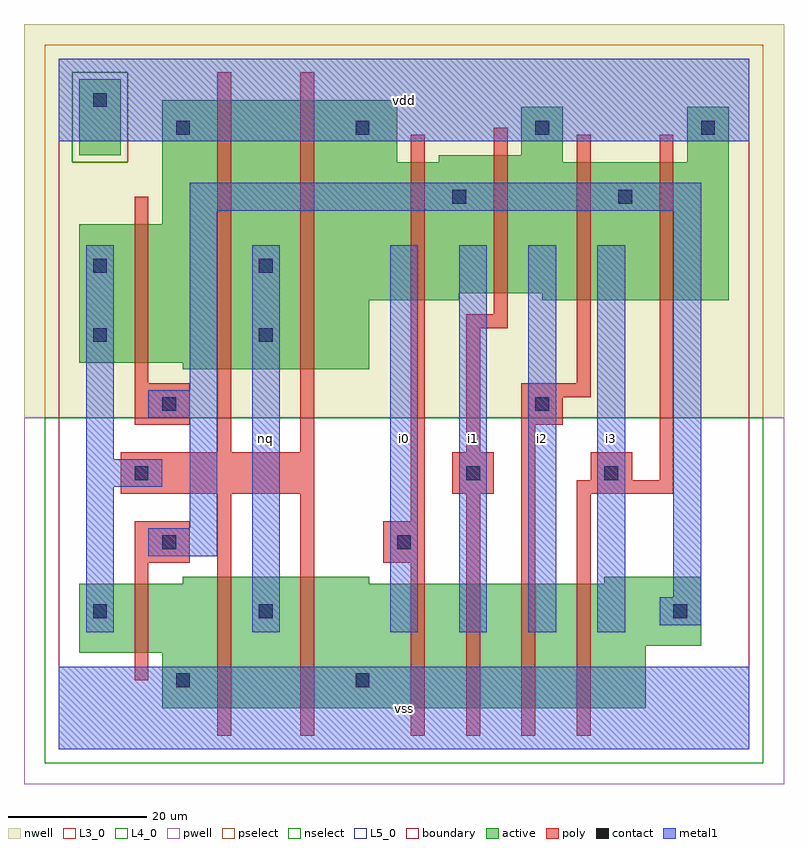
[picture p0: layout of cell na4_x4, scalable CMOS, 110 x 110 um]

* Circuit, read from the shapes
.subckt na4_x4 i0 i1 i2 i3 nq vdd vss
M1 vss n1 n2 VSUBS nfet w=10u l=2u
M2 nq n2 vss VSUBS nfet w=19u l=2u m=2
M3 n3 i0 vss VSUBS nfet w=18u l=2u
M4 n4 i1 n3 VSUBS nfet w=18u l=2u
M5 n5 i2 n4 VSUBS nfet w=18u l=2u
M6 n1 i3 n5 VSUBS nfet w=18u l=2u
M7 vdd n1 n2 vdd pfet w=20u l=2u
M8 nq n2 vdd vdd pfet w=39u l=2u m=2
M9 n1 i0 vdd vdd pfet w=20u l=2u
M10 vdd i1 n1 vdd pfet w=20u l=2u
M11 n1 i2 vdd vdd pfet w=20u l=2u
M12 vdd i3 n1 vdd pfet w=20u l=2u
.ends

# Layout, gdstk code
import gdstk
lib = gdstk.Library(unit=1e-6, precision=1e-09)
def R(c, l, rs):  # rectangles x0, y0, x1, y1
    for r in rs: c.add(gdstk.rectangle(r[:2], r[2:], *l))
def A(c, l, x, y, w, h, nx, ny, dx, dy):  # array of equal rectangles
    R(c, l, [(x+i*dx, y+j*dy, x+i*dx+w, y+j*dy+h) for i in range(nx) for j in range(ny)])
L3_0 = (3, 0)
L4_0 = (4, 0)
L5_0 = (5, 0)
contact = (25, 0)
pwell = (41, 0)
nwell = (42, 0)
active = (43, 0)
pselect = (44, 0)
nselect = (45, 0)
poly = (46, 0)
metal1 = (49, 0)
boundary = (63, 0)

na4_x4 = lib.new_cell('na4_x4')
R(na4_x4, L3_0, [(15,6,85,14), (3,14,85,15), (3,15,93,24), (18,24,45,25), (79,24,93,25)])
R(na4_x4, L4_0, [(18,55,45,56), (3,56,45,65), (3,65,58,66), (70,65,97,66), (3,66,97,76), (15,76,97,85), (15,85,49,94), (55,85,73,86), (91,85,97,93), (67,86,73,93)])
R(na4_x4, L5_0, [(3,86,9,97)])
A(na4_x4, contact, 17, 89, 2, 2, 3, 1, 26, 0)
R(na4_x4, contact, [(17,9,19,11), (43,9,45,11), (5,19,7,21), (29,19,31,21), (89,19,91,21), (15,29,17,31), (49,29,51,31), (11,39,13,41), (59,39,61,41), (79,39,81,41), (15,49,17,51), (69,49,71,51), (5,59,7,61), (29,59,31,61), (5,69,7,71), (29,69,31,71), (57,79,59,81), (81,79,83,81), (93,89,95,91), (5,93,7,95)])
R(na4_x4, pwell, [(-5,-5,105,48)])
R(na4_x4, nwell, [(-5,48,105,105)])
R(na4_x4, active, [(15,6,85,14), (3,14,85,15), (3,15,93,24), (18,24,45,25), (79,24,93,25), (18,55,45,56), (3,56,45,65), (3,65,58,66), (70,65,97,66), (3,66,97,76), (15,76,97,85), (15,85,49,94), (55,85,73,86), (91,85,97,93), (3,86,9,97), (67,86,73,93)])
R(na4_x4, pselect, [(-2,48,102,85), (-2,85,2,98), (10,85,102,98), (-2,98,102,102)])
R(na4_x4, nselect, [(-2,-2,102,48), (2,85,10,98)])
R(na4_x4, poly, [(23,2,25,37), (35,2,37,37), (51,2,53,27), (59,2,61,37), (67,2,69,47), (75,2,77,37), (11,10,13,27), (11,27,19,33), (47,27,53,33), (51,33,53,89), (9,37,37,43), (57,37,63,43), (75,37,89,39), (77,39,83,43), (87,39,89,89), (23,43,25,98), (35,43,37,98), (59,43,61,61), (11,47,19,53), (67,47,73,51), (67,51,77,53), (11,53,13,80), (75,53,77,89), (59,61,65,63), (63,63,65,90)])
A(na4_x4, metal1, 48, 17, 4, 56, 4, 1, 10, 0)
R(na4_x4, metal1, [(0,0,100,12), (4,17,8,38), (28,17,32,73), (87,18,93,22), (89,22,93,78), (13,28,23,32), (19,32,23,48), (4,38,15,42), (4,42,8,73), (13,48,23,52), (19,52,23,78), (19,78,93,82), (0,88,100,100)])
R(na4_x4, boundary, [(0,0,100,100)])
na4_x4.add(gdstk.Label('nq', (30,45), layer=49, texttype=0))
na4_x4.add(gdstk.Label('vss', (50,6), layer=49, texttype=0))
na4_x4.add(gdstk.Label('i0', (50,45), layer=49, texttype=0))
na4_x4.add(gdstk.Label('i2', (70,45), layer=49, texttype=0))
na4_x4.add(gdstk.Label('i1', (60,45), layer=49, texttype=0))
na4_x4.add(gdstk.Label('vdd', (50,94), layer=49, texttype=0))
na4_x4.add(gdstk.Label('i3', (80,45), layer=49, texttype=0))

lib.write_gds('na4_x4.gds')
